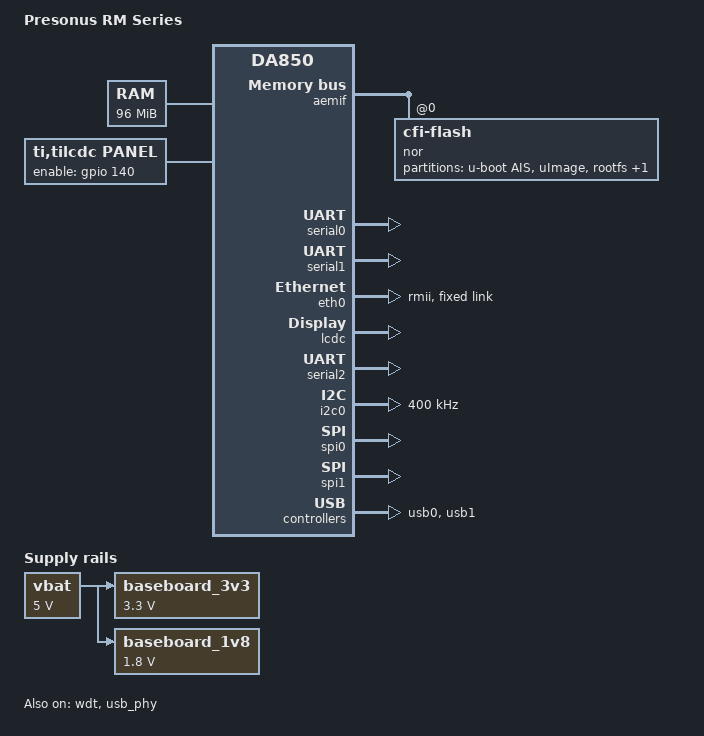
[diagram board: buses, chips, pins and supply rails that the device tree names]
// SPDX-License-Identifier: GPL-2.0-only
/*
 * Device tree for Presonus RM Series rack mixers
 *
 * Copyright (C) 2019 Roman Savrulin <romansavrulin@gmail.com>
 */

/dts-v1/;
#include <dt-bindings/gpio/gpio.h>
#include <dt-bindings/input/linux-event-codes.h>
#include <dt-bindings/pwm/pwm.h>

#include "da850.dtsi"

/ {
	compatible = "ti,da850-evm", "ti,da850";
	model = "Presonus RM Series";

        chosen {
                stdout-path = &serial2;
        };
	
	soc@1c00000 {
	
	};

	aliases {
		serial0 = &serial0;
		serial1 = &serial1;
		serial2 = &serial2;
		ethernet0 = &eth0;
		spi0 = &spi1;
	};

	vbat: fixedregulator0 {
		compatible = "regulator-fixed";
		regulator-name = "vbat";
		regulator-min-microvolt = <5000000>;
		regulator-max-microvolt = <5000000>;
		regulator-boot-on;
	};

	baseboard_3v3: fixedregulator-3v3 {
		/* TPS73701DCQ */
		compatible = "regulator-fixed";
		regulator-name = "baseboard_3v3";
		regulator-min-microvolt = <3300000>;
		regulator-max-microvolt = <3300000>;
		vin-supply = <&vbat>;
		regulator-always-on;
		regulator-boot-on;
	};

	baseboard_1v8: fixedregulator-1v8 {
		/* TPS73701DCQ */
		compatible = "regulator-fixed";
		regulator-name = "baseboard_1v8";
		regulator-min-microvolt = <1800000>;
		regulator-max-microvolt = <1800000>;
		vin-supply = <&vbat>;
		regulator-always-on;
		regulator-boot-on;
	};

	memory@c0000000 {
		device_type = "memory";
		reg = <0xc0000000 0x6000000>;
	};

	panel {
		compatible = "ti,tilcdc,panel";
		pinctrl-names = "default";
		pinctrl-0 = <&lcd_pins>;
		/*
		 * The vpif and the LCD are mutually exclusive.
		 * To enable VPIF, change the status below to 'disabled' then
		 * then change the status of the vpif below to 'okay'
		 */
		status = "okay";
		enable-gpios = <&gpio 140 GPIO_ACTIVE_HIGH>; /* lcd_panel_pwr */

		panel-info {
			ac-bias		= <255>;
			ac-bias-intrpt	= <0>;
			dma-burst-sz	= <16>;
			bpp		= <16>;
			fdd		= <0x80>;
			sync-edge	= <0>;
			sync-ctrl	= <1>;
			raster-order	= <0>;
			fifo-th		= <0>;
		};

		display-timings {
			native-mode = <&timing0>;
			timing0: 480x272 {
				clock-frequency = <9000000>;
				hactive = <480>;
				vactive = <272>;
				hfront-porch = <3>;
				hback-porch = <2>;
				hsync-len = <42>;
				vback-porch = <3>;
				vfront-porch = <4>;
				vsync-len = <11>;
				hsync-active = <0>;
				vsync-active = <0>;
				de-active = <1>;
				pixelclk-active = <1>;
			};
		};
	};
	
	/* backlight_lcd: backlight-regulator {
		compatible = "regulator-fixed";
		regulator-name = "lcd_backlight_pwr";
		regulator-min-microvolt = <3300000>;
		regulator-max-microvolt = <3300000>;
		gpio = <&gpio 47 GPIO_ACTIVE_HIGH>; // lcd_backlight_pwr
		enable-active-high;
	}; */
};

&ref_clk {
	clock-frequency = <24000000>;
};

&pmx_core {
	status = "okay";
	nor_pins: nor_pins {
		pinctrl-single,bits = <
			/* EMA_BA0 */
			0x14 0x10000000  0xf0000000
			/* EMA_WAIT_1 EMA_CLK - does this needed ??? */
			/* 0x18 0x01000001  0x0f00000f */
			/* EMA_OE, EMA_WE, EMA_CS[2] */
			0x1c 0x00110001  0x00ff000f
			/*
			 * EMA_D[8], EMA_D[9], EMA_D[10],
			 * EMA_D[11], EMA_D[12], EMA_D[13],
			 * EMA_D[14], EMA_D[15]
			 */
			0x20 0x11111111  0xffffffff
			/*
			 * EMA_D[0], EMA_D[1], EMA_D[2],
			 * EMA_D[3], EMA_D[4], EMA_D[5],
			 * EMA_D[6], EMA_D[7]
			 */
			0x24 0x11111111  0xffffffff
			
			/*
			 * EMA_A[16],  EMA_A[17],  EMA_D[18],
			 * EMA_A[19], EMA_A[20], EMA_A[21],
			 * EMA_A[22]
			 */
			0x28 0x11111110  0xfffffff0
			/*
			 * EMA_A[8],  EMA_A[9],  EMA_A[10],
			 * EMA_A[11], EMA_A[12], EMA_A[13],
			 * EMA_A[14], EMA_A[15]
			 */
			0x2C 0x11111111  0xffffffff
			/*
			 * EMA_A[0],  EMA_A[1],  EMA_A[2],
			 * EMA_A[3], EMA_A[4], EMA_A[5],
			 * EMA_A[6], EMA_A[7]
			 */
			0x30 0x11111111  0xffffffff
		>;
	};
	rmii_pins: pinmux_rmii_pins {
		pinctrl-single,bits = <
			/*
			 * RMII_RXER, RMII_RXD_0, RMII_RXD_1
			 * RMII_TXEN, RMII_TXD_0, RMII_TXD_1
			 */
			0x38 0x88888800 0xffffff00
			/* RMII_MHZ_50_CLK from PHY, RMII_CRS_DV
			 */
			0x3c 0x00000080 0x000000ff
		>;
	};
};

&aemif {
    pinctrl-names = "default";
    pinctrl-0 = <&nor_pins>;
    status = "okay";
    nor:cs2 {
	#address-cells = <2>;
	#size-cells = <1>;
	clock-ranges;
	ranges;

	ti,cs-chipselect = <2>;
	ti,cs-bus-width = <16>;

	/* all timings in nanoseconds */
	ti,cs-min-turnaround-ns = <100>;

	ti,cs-read-setup-ns = <50>;
	ti,cs-read-strobe-ns = <30>;
	ti,cs-read-hold-ns = <30>;

	ti,cs-write-setup-ns = <0>;
	ti,cs-write-strobe-ns = <35>;
	ti,cs-write-hold-ns = <70>;

	nor@0,0x8000000 {
		compatible = "cfi-flash";
		reg = <0 0x0000000 0x2000000>;
		bank-width = <2>;
		partitions {
                                compatible = "fixed-partitions";
                                #address-cells = <1>;
                                #size-cells = <1>;

                                partition@0 {
                                        // The LCDK defaults to booting from this partition
                                        label = "u-boot AIS";
                                        reg = <0x0 0xA0000>;
                                };
                                partition@A0000 {
                                        label = "uImage";
                                        reg = <0xA0000 0x460000>;
                                };
                                partition@500000 {
                                        label = "rootfs";
                                        reg = <0x500000 0x1700000>;
                                };
				partition@1C00000 {
                                        label = "sfs";
                                        reg = <0x1C00000 0>;
                                };
                };
	};
    };
};

&wdt {
	status = "okay";
};

&serial0 {
	status = "okay";
};

/* Input port 1 */
&serial1 {
	status = "okay";
	pinctrl-names = "default";
	pinctrl-0 = <&serial1_rxtx_pins>;
};

&eth0 {
	pinctrl-names = "default";
	pinctrl-0 = <&rmii_pins>;
	phy-mode = "rmii";
	ti,davinci-rmii-en;
	/* or use this for unpatched kernel */
	/* ti,davinci-rmii-en = /bits/ 8 <0x1>; */
	status = "okay";
	/*
	add support for nvmem MAC addr https://lkml.org/lkml/2019/4/26/1086 
	/delete-property/ local-mac-address;
	*/
	fixed-link {
                speed = <100>;
                full-duplex;
         };
};

&lcdc {
	status = "okay";
};

&serial2 {
	pinctrl-names = "default";
	pinctrl-0 = <&serial2_rxtx_pins>;
	status = "okay";
};

&i2c0 {
	status = "okay";
	clock-frequency = <400000>;
	pinctrl-names = "default";
	pinctrl-0 = <&i2c0_pins>;
};

&spi0 {
	status = "okay";
	pinctrl-names = "default";
	pinctrl-0 = <&spi0_pins>, <&spi0_cs0_pin>, <&spi0_cs3_pin>;
};

&spi1 {
	status = "okay";
	pinctrl-0 = <&spi1_pins>, <&spi1_cs0_pin>;
	pinctrl-names = "default";
//	cs-gpios = <&gpio 44 GPIO_ACTIVE_LOW>;
};

&gpio {
	status = "okay";
};

&usb_phy {
	status = "okay";
};

&usb0 {
	status = "okay";
};

&usb1 {
	status = "okay";
};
